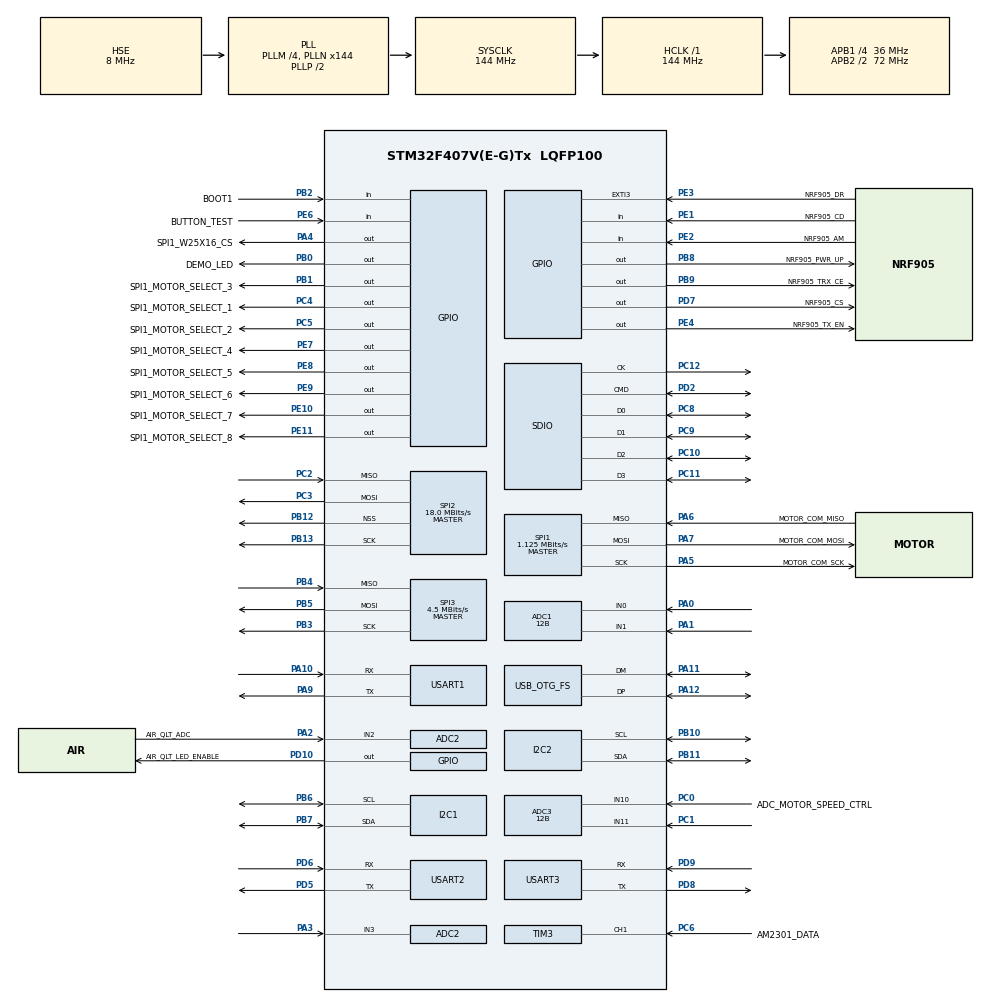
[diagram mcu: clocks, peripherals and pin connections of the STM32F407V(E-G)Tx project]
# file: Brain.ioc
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ADC1.Channel-0\#ChannelRegularConversion=ADC_CHANNEL_0
ADC1.ClockPrescaler=ADC_CLOCK_SYNC_PCLK_DIV4
ADC1.ContinuousConvMode=DISABLE
ADC1.DMAContinuousRequests=DISABLE
ADC1.DataAlign=ADC_DATAALIGN_RIGHT
ADC1.DiscontinuousConvMode=DISABLE
ADC1.EOCSelection=ADC_EOC_SINGLE_CONV
ADC1.EnableAnalogWatchDog=false
ADC1.ExternalTrigConvEdge=ADC_EXTERNALTRIGCONVEDGE_NONE
ADC1.InjNumberOfConversion=0
ADC1.NbrOfConversion=1
ADC1.NbrOfConversionFlag=1
ADC1.Rank-0\#ChannelRegularConversion=1
ADC1.Resolution=ADC_RESOLUTION_12B
ADC1.SamplingTime-0\#ChannelRegularConversion=ADC_SAMPLETIME_3CYCLES
ADC1.ScanConvMode=DISABLE
ADC1.master=1
ADC2.Channel-8\#ChannelRegularConversion=ADC_CHANNEL_2
ADC2.ClockPrescaler=ADC_CLOCK_SYNC_PCLK_DIV4
ADC2.ContinuousConvMode=DISABLE
ADC2.DMAContinuousRequests=DISABLE
ADC2.DataAlign=ADC_DATAALIGN_RIGHT
ADC2.DiscontinuousConvMode=DISABLE
ADC2.EOCSelection=ADC_EOC_SINGLE_CONV
ADC2.EnableAnalogWatchDog=false
ADC2.ExternalTrigConvEdge=ADC_EXTERNALTRIGCONVEDGE_NONE
ADC2.InjNumberOfConversion=0
ADC2.NbrOfConversion=1
ADC2.NbrOfConversionFlag=1
ADC2.Rank-8\#ChannelRegularConversion=1
ADC2.Resolution=ADC_RESOLUTION_12B
ADC2.SamplingTime-8\#ChannelRegularConversion=ADC_SAMPLETIME_28CYCLES
ADC2.ScanConvMode=DISABLE
ADC3.Channel-0\#ChannelRegularConversion=ADC_CHANNEL_10
ADC3.ClockPrescaler=ADC_CLOCK_SYNC_PCLK_DIV4
ADC3.ContinuousConvMode=DISABLE
ADC3.DMAContinuousRequests=ENABLE
ADC3.DataAlign=ADC_DATAALIGN_RIGHT
ADC3.DiscontinuousConvMode=DISABLE
ADC3.EOCSelection=ADC_EOC_SINGLE_CONV
ADC3.EnableAnalogWatchDog=false
ADC3.ExternalTrigConv=ADC_EXTERNALTRIGCONV_T2_TRGO
ADC3.ExternalTrigConvEdge=ADC_EXTERNALTRIGCONVEDGE_RISING
ADC3.InjNumberOfConversion=0
ADC3.NbrOfConversion=1
ADC3.NbrOfConversionFlag=1
ADC3.Rank-0\#ChannelRegularConversion=1
ADC3.Resolution=ADC_RESOLUTION_12B
ADC3.SamplingTime-0\#ChannelRegularConversion=ADC_SAMPLETIME_28CYCLES
ADC3.ScanConvMode=DISABLE
Dma.ADC3.3.Channel=DMA_CHANNEL_2
Dma.ADC3.3.Direction=DMA_PERIPH_TO_MEMORY
Dma.ADC3.3.FIFOMode=DMA_FIFOMODE_DISABLE
Dma.ADC3.3.Instance=DMA2_Stream0
Dma.ADC3.3.MemDataAlignment=DMA_MDATAALIGN_HALFWORD
Dma.ADC3.3.MemInc=DMA_MINC_ENABLE
Dma.ADC3.3.Mode=DMA_CIRCULAR
Dma.ADC3.3.PeriphDataAlignment=DMA_PDATAALIGN_HALFWORD
Dma.ADC3.3.PeriphInc=DMA_PINC_DISABLE
Dma.ADC3.3.Priority=DMA_PRIORITY_LOW
Dma.Request0=SPI3_RX
Dma.Request1=SPI3_TX
Dma.Request2=TIM3_CH1/TRIG
Dma.Request3=ADC3
Dma.SPI3_RX.0.Channel=DMA_CHANNEL_0
Dma.SPI3_RX.0.Direction=DMA_PERIPH_TO_MEMORY
Dma.SPI3_RX.0.FIFOMode=DMA_FIFOMODE_DISABLE
Dma.SPI3_RX.0.Instance=DMA1_Stream0
Dma.SPI3_RX.0.MemDataAlignment=DMA_MDATAALIGN_BYTE
Dma.SPI3_RX.0.MemInc=DMA_MINC_ENABLE
Dma.SPI3_RX.0.Mode=DMA_NORMAL
Dma.SPI3_RX.0.PeriphDataAlignment=DMA_PDATAALIGN_BYTE
Dma.SPI3_RX.0.PeriphInc=DMA_PINC_DISABLE
Dma.SPI3_RX.0.Priority=DMA_PRIORITY_LOW
Dma.SPI3_TX.1.Channel=DMA_CHANNEL_0
Dma.SPI3_TX.1.Direction=DMA_MEMORY_TO_PERIPH
Dma.SPI3_TX.1.FIFOMode=DMA_FIFOMODE_DISABLE
Dma.SPI3_TX.1.Instance=DMA1_Stream5
Dma.SPI3_TX.1.MemDataAlignment=DMA_MDATAALIGN_BYTE
Dma.SPI3_TX.1.MemInc=DMA_MINC_ENABLE
Dma.SPI3_TX.1.Mode=DMA_NORMAL
Dma.SPI3_TX.1.PeriphDataAlignment=DMA_PDATAALIGN_BYTE
Dma.SPI3_TX.1.PeriphInc=DMA_PINC_DISABLE
Dma.SPI3_TX.1.Priority=DMA_PRIORITY_LOW
Dma.TIM3_CH1/TRIG.2.Channel=DMA_CHANNEL_5
Dma.TIM3_CH1/TRIG.2.Direction=DMA_PERIPH_TO_MEMORY
Dma.TIM3_CH1/TRIG.2.FIFOMode=DMA_FIFOMODE_DISABLE
Dma.TIM3_CH1/TRIG.2.Instance=DMA1_Stream4
Dma.TIM3_CH1/TRIG.2.MemDataAlignment=DMA_MDATAALIGN_HALFWORD
Dma.TIM3_CH1/TRIG.2.MemInc=DMA_MINC_ENABLE
Dma.TIM3_CH1/TRIG.2.Mode=DMA_NORMAL
Dma.TIM3_CH1/TRIG.2.PeriphDataAlignment=DMA_PDATAALIGN_HALFWORD
Dma.TIM3_CH1/TRIG.2.PeriphInc=DMA_PINC_DISABLE
Dma.TIM3_CH1/TRIG.2.Priority=DMA_PRIORITY_LOW
FATFS._LFN_UNICODE=1
FATFS._USE_LFN=2
FREERTOS.BinarySemaphores01=MTR_tMotorSPI_CommCplt;RTN_tNeedToUpdateMotor;MTR_tMotorSpeedChanged;WL_tNRF905SPI_CommCplt;TH_tMeasureData_CommCplt;GLB_tGlobalParaAccess;AQ_tADC_Cnvt_Cplt
FREERTOS.INCLUDE_vTaskDelayUntil=1
FREERTOS.Queues01=MotorCommQueue,64,MOTOR_SPI_COMM_T,NULL
FREERTOS.Tasks01=defaultTask,0,256,StartDefaultTask,Default;myDEMO_LED_Task,-2,256,blinkDemoLED,As external;myMotorCtrlTask,2,256,MTR_ctrlMotor,As external;myRoutineUpdate,0,256,RTN_updateMotor,As external;myMotorCommTask,1,256,MTR_MotorComm,As external;myNRF905Comm,-3,256,WL_startRFComm,As external;myTmptHmdtMsmt,-3,256,TH_Measure,As external;myAirQuality,-3,256,AQ_Measure,As external
FREERTOS.configMINIMAL_STACK_SIZE=256
FREERTOS.configTIMER_TASK_PRIORITY=2
FREERTOS.configUSE_COUNTING_SEMAPHORES=1
FREERTOS.configUSE_TIMERS=0
Mcu.Family=STM32F4
Mcu.Name=STM32F407V(E-G)Tx
Mcu.Package=LQFP100
Mcu.UserConstants=MOTOR_SPEED_ADC_DMA_DEPTH,32
NVIC.ADC_IRQn=true\:5\:0\:false\:false\:true
NVIC.DMA1_Stream0_IRQn=true\:10\:0\:true\:false\:true
NVIC.DMA1_Stream4_IRQn=true\:5\:0\:false\:false\:true
NVIC.DMA1_Stream5_IRQn=true\:10\:0\:true\:false\:true
NVIC.DMA2_Stream0_IRQn=true\:8\:0\:true\:false\:true
NVIC.EXTI3_IRQn=true\:12\:0\:true\:false\:true
NVIC.OTG_FS_IRQn=true\:5\:0\:false\:false\:true
NVIC.PriorityGroup=NVIC_PRIORITYGROUP_4
NVIC.SPI1_IRQn=true\:7\:0\:true\:false\:true
NVIC.TIM1_UP_TIM10_IRQn=true\:0\:0\:false\:false\:true
NVIC.TIM6_DAC_IRQn=true\:10\:0\:true\:false\:true
NVIC.TIM8_BRK_TIM12_IRQn=true\:9\:0\:true\:false\:true
NVIC.TIM8_UP_TIM13_IRQn=true\:11\:0\:true\:false\:true
NVIC.TimeBase=TIM1_UP_TIM10_IRQn
NVIC.TimeBaseIP=TIM1
PA0-WKUP.Signal=ADCx_IN0
PA1.Signal=ADCx_IN1
PA10.Mode=Asynchronous
PA10.Signal=USART1_RX
PA11.Mode=Device_Only
PA11.Signal=USB_OTG_FS_DM
PA12.Mode=Device_Only
PA12.Signal=USB_OTG_FS_DP
PA13.Mode=Serial-Wire
PA13.Signal=SYS_JTMS-SWDIO
PA14.Mode=Serial-Wire
PA14.Signal=SYS_JTCK-SWCLK
PA2.GPIO_Label=AIR_QLT_ADC
PA2.Signal=ADCx_IN2
PA3.Signal=ADCx_IN3
PA4.GPIO_Label=SPI1_W25X16_CS
PA4.Signal=GPIO_Output
PA5.GPIO_Label=MOTOR_COM_SCK
PA5.Mode=Full_Duplex_Master
PA5.Signal=SPI1_SCK
PA6.GPIO_Label=MOTOR_COM_MISO
PA6.Mode=Full_Duplex_Master
PA6.Signal=SPI1_MISO
PA7.GPIO_Label=MOTOR_COM_MOSI
PA7.Mode=Full_Duplex_Master
PA7.Signal=SPI1_MOSI
PA9.Mode=Asynchronous
PA9.Signal=USART1_TX
PB0.GPIO_Label=DEMO_LED
PB0.Signal=GPIO_Output
PB1.GPIO_Label=SPI1_MOTOR_SELECT_3
PB1.Signal=GPIO_Output
PB10.Mode=I2C
PB10.Signal=I2C2_SCL
PB11.Mode=I2C
PB11.Signal=I2C2_SDA
PB12.Mode=NSS_Signal_Hard_Output
PB12.Signal=SPI2_NSS
PB13.Mode=Full_Duplex_Master
PB13.Signal=SPI2_SCK
PB2.GPIO_Label=BOOT1
PB2.Signal=GPIO_Input
PB3.Mode=Full_Duplex_Master
PB3.Signal=SPI3_SCK
PB4.Mode=Full_Duplex_Master
PB4.Signal=SPI3_MISO
PB5.Mode=Full_Duplex_Master
PB5.Signal=SPI3_MOSI
PB6.Mode=I2C
PB6.Signal=I2C1_SCL
PB7.Mode=I2C
PB7.Signal=I2C1_SDA
PB8.GPIO_Label=NRF905_PWR_UP
PB8.Signal=GPIO_Output
PB9.GPIO_Label=NRF905_TRX_CE
PB9.Signal=GPIO_Output
PC0.GPIO_Label=ADC_MOTOR_SPEED_CTRL
PC0.Signal=ADCx_IN10
PC1.Signal=ADCx_IN11
PC10.Mode=mmc_4_bits_Wide_bus
PC10.Signal=SDIO_D2
PC11.Mode=mmc_4_bits_Wide_bus
PC11.Signal=SDIO_D3
PC12.Mode=mmc_4_bits_Wide_bus
PC12.Signal=SDIO_CK
PC14-OSC32_IN.Mode=LSE-External-Oscillator
PC14-OSC32_IN.Signal=RCC_OSC32_IN
PC15-OSC32_OUT.Mode=LSE-External-Oscillator
PC15-OSC32_OUT.Signal=RCC_OSC32_OUT
PC2.Mode=Full_Duplex_Master
PC2.Signal=SPI2_MISO
PC3.Mode=Full_Duplex_Master
PC3.Signal=SPI2_MOSI
PC4.GPIO_Label=SPI1_MOTOR_SELECT_1
PC4.Signal=GPIO_Output
PC5.GPIO_Label=SPI1_MOTOR_SELECT_2
PC5.Signal=GPIO_Output
PC6.GPIO_Label=AM2301_DATA
PC6.GPIO_ModeDefaultPP=GPIO_MODE_AF_OD
PC6.GPIO_PuPd=GPIO_PULLUP
PC6.GPIO_Speed=GPIO_SPEED_FREQ_HIGH
PC6.Signal=S_TIM3_CH1
PC8.Mode=mmc_4_bits_Wide_bus
PC8.Signal=SDIO_D0
PC9.Mode=mmc_4_bits_Wide_bus
PC9.Signal=SDIO_D1
PD10.GPIO_Label=AIR_QLT_LED_ENABLE
PD10.GPIO_ModeDefaultOutputPP=GPIO_MODE_OUTPUT_OD
PD10.PinState=GPIO_PIN_SET
PD10.Signal=GPIO_Output
PD2.Mode=mmc_4_bits_Wide_bus
PD2.Signal=SDIO_CMD
PD5.Mode=Asynchronous
PD5.Signal=USART2_TX
PD6.Mode=Asynchronous
PD6.Signal=USART2_RX
PD7.GPIO_Label=NRF905_CS
PD7.Signal=GPIO_Output
PD8.Mode=Asynchronous
PD8.Signal=USART3_TX
PD9.Mode=Asynchronous
PD9.Signal=USART3_RX
PE1.GPIO_Label=NRF905_CD
PE1.Signal=GPIO_Input
PE10.GPIO_Label=SPI1_MOTOR_SELECT_7
PE10.Signal=GPIO_Output
PE11.GPIO_Label=SPI1_MOTOR_SELECT_8
PE11.Signal=GPIO_Output
PE2.GPIO_Label=NRF905_AM
PE2.Signal=GPIO_Input
PE3.GPIO_Label=NRF905_DR
PE3.GPIO_PuPd=GPIO_PULLDOWN
PE3.Signal=GPXTI3
PE4.GPIO_Label=NRF905_TX_EN
PE4.Signal=GPIO_Output
PE6.GPIO_Label=BUTTON_TEST
PE6.Signal=GPIO_Input
PE7.GPIO_Label=SPI1_MOTOR_SELECT_4
PE7.Signal=GPIO_Output
PE8.GPIO_Label=SPI1_MOTOR_SELECT_5
PE8.Signal=GPIO_Output
PE9.GPIO_Label=SPI1_MOTOR_SELECT_6
PE9.Signal=GPIO_Output
PH0-OSC_IN.Mode=HSE-External-Oscillator
PH0-OSC_IN.Signal=RCC_OSC_IN
PH1-OSC_OUT.Mode=HSE-External-Oscillator
PH1-OSC_OUT.Signal=RCC_OSC_OUT
ProjectManager.HeapSize=0x400
ProjectManager.StackSize=0x800
ProjectManager.TargetToolchain=MDK-ARM V5
RCC.48MHZClocksFreq_Value=48000000
RCC.AHBFreq_Value=144000000
RCC.APB1CLKDivider=RCC_HCLK_DIV4
RCC.APB1Freq_Value=36000000
RCC.APB1TimFreq_Value=72000000
RCC.APB2CLKDivider=RCC_HCLK_DIV2
RCC.APB2Freq_Value=72000000
RCC.APB2TimFreq_Value=144000000
RCC.CortexFreq_Value=144000000
RCC.HCLKFreq_Value=144000000
RCC.HSE_VALUE=8000000
RCC.HSI_VALUE=16000000
RCC.PLLM=4
RCC.PLLN=144
RCC.PLLQ=6
RCC.SYSCLKFreq_VALUE=144000000
RCC.SYSCLKSource=RCC_SYSCLKSOURCE_PLLCLK
RCC.VCOOutputFreq_Value=288000000
SH.ADCx_IN0.0=ADC1_IN0,IN0
SH.ADCx_IN1.0=ADC1_IN1,IN1
SH.ADCx_IN10.0=ADC3_IN10,IN10
SH.ADCx_IN11.0=ADC3_IN11,IN11
SH.ADCx_IN2.0=ADC2_IN2,IN2
SH.ADCx_IN3.0=ADC2_IN3,IN3
SH.S_TIM3_CH1.0=TIM3_CH1,Input_Capture1_from_TI1
SPI1.BaudRatePrescaler=SPI_BAUDRATEPRESCALER_64
SPI1.CLKPhase=SPI_PHASE_1EDGE
SPI1.CLKPolarity=SPI_POLARITY_LOW
SPI1.CRCCalculation=SPI_CRCCALCULATION_DISABLE
SPI1.CalculateBaudRate=1.125 MBits/s
SPI1.DataSize=SPI_DATASIZE_16BIT
SPI1.Mode=SPI_MODE_MASTER
SPI2.BaudRatePrescaler=SPI_BAUDRATEPRESCALER_2
SPI2.CalculateBaudRate=18.0 MBits/s
SPI2.Mode=SPI_MODE_MASTER
SPI2.VirtualNSS=VM_NSSHARD
SPI3.BaudRatePrescaler=SPI_BAUDRATEPRESCALER_8
SPI3.CalculateBaudRate=4.5 MBits/s
SPI3.Mode=SPI_MODE_MASTER
TIM12.Period=280
TIM12.Prescaler=71
TIM13.ClockDivision=TIM_CLOCKDIVISION_DIV1
TIM13.Period=2000
TIM13.Prescaler=719
TIM14.ClockDivision=TIM_CLOCKDIVISION_DIV4
TIM14.Period=2000
TIM14.Prescaler=2000
TIM2.ClockDivision=TIM_CLOCKDIVISION_DIV1
TIM2.Period=1000
TIM2.Prescaler=719
TIM2.TIM_MasterOutputTrigger=TIM_TRGO_UPDATE
TIM2.TIM_MasterSlaveMode=TIM_MASTERSLAVEMODE_ENABLE
TIM3.ICFilter_CH1=5
TIM3.ICPolarity_CH1=TIM_INPUTCHANNELPOLARITY_FALLING
TIM3.Period=65535
TIM3.Prescaler=71
TIM6.Period=10000
TIM6.Prescaler=719
TIM6.TIM_MasterOutputTrigger=TIM_TRGO_RESET
USB_OTG_FS.VirtualMode=Device_Only
VP_CRC_VS_CRC.Mode=CRC_Activate
VP_FATFS_VS_Generic.Mode=User_defined
VP_FREERTOS_VS_ENABLE.Mode=Enabled
VP_IWDG_VS_IWDG.Mode=IWDG_Activate
VP_RNG_VS_RNG.Mode=RNG_Activate
VP_SYS_VS_tim1.Mode=TIM1
VP_TIM12_VS_ClockSourceINT.Mode=Internal
VP_TIM13_VS_ClockSourceINT.Mode=Enable_Timer
VP_TIM14_VS_ClockSourceINT.Mode=Enable_Timer
VP_TIM2_VS_ClockSourceINT.Mode=Internal
VP_TIM3_VS_ClockSourceINT.Mode=Internal
VP_TIM6_VS_ClockSourceINT.Mode=Enable_Timer
board=Brain

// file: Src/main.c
/**
  ******************************************************************************
  * File Name          : main.c
  * Description        : Main program body
  ******************************************************************************
  *
  * COPYRIGHT(c) 2016 STMicroelectronics
  *
  * Redistribution and use in source and binary forms, with or without modification,
  * are permitted provided that the following conditions are met:
  *   1. Redistributions of source code must retain the above copyright notice,
  *      this list of conditions and the following disclaimer.
  *   2. Redistributions in binary form must reproduce the above copyright notice,
  *      this list of conditions and the following disclaimer in the documentation
  *      and/or other materials provided with the distribution.
  *   3. Neither the name of STMicroelectronics nor the names of its contributors
  *      may be used to endorse or promote products derived from this software
  *      without specific prior written permission.
  *
  * THIS SOFTWARE IS PROVIDED BY THE COPYRIGHT HOLDERS AND CONTRIBUTORS "AS IS"
  * AND ANY EXPRESS OR IMPLIED WARRANTIES, INCLUDING, BUT NOT LIMITED TO, THE
  * IMPLIED WARRANTIES OF MERCHANTABILITY AND FITNESS FOR A PARTICULAR PURPOSE ARE
  * DISCLAIMED. IN NO EVENT SHALL THE COPYRIGHT HOLDER OR CONTRIBUTORS BE LIABLE
  * FOR ANY DIRECT, INDIRECT, INCIDENTAL, SPECIAL, EXEMPLARY, OR CONSEQUENTIAL
  * DAMAGES (INCLUDING, BUT NOT LIMITED TO, PROCUREMENT OF SUBSTITUTE GOODS OR
  * SERVICES; LOSS OF USE, DATA, OR PROFITS; OR BUSINESS INTERRUPTION) HOWEVER
  * CAUSED AND ON ANY THEORY OF LIABILITY, WHETHER IN CONTRACT, STRICT LIABILITY,
  * OR TORT (INCLUDING NEGLIGENCE OR OTHERWISE) ARISING IN ANY WAY OUT OF THE USE
  * OF THIS SOFTWARE, EVEN IF ADVISED OF THE POSSIBILITY OF SUCH DAMAGE.
  *
  ******************************************************************************
  */
#include "stm32f4xx_hal.h"
#include "cmsis_os.h"
#include "adc.h"
#include "crc.h"
#include "dma.h"
#include "fatfs.h"
#include "i2c.h"
#include "iwdg.h"
#include "rng.h"
#include "sdio.h"
#include "spi.h"
#include "tim.h"
#include "usart.h"
#include "usb_otg.h"
#include "gpio.h"

/* USER CODE BEGIN Includes */
#define __USED_BY_MAIN__
#include "motor.h"
#include "air_quality.h"
#include "main.h"
/* USER CODE END Includes */

/* USER CODE BEGIN PV */
/* Private variables ---------------------------------------------------------*/
extern osSemaphoreId MTR_tMotorSPI_CommCpltHandle;
extern osSemaphoreId WL_tNRF905SPI_CommCpltHandle;
extern osSemaphoreId MTR_tMotorSpeedChangedHandle;
extern osSemaphoreId AQ_tADC_Cnvt_CpltHandle;

/* USER CODE END PV */

void SystemClock_Config(void);
void MX_FREERTOS_Init(void);

/* USER CODE BEGIN PFP */
/* Private function prototypes -----------------------------------------------*/

/* USER CODE END PFP */

/* USER CODE BEGIN 0 */
void blinkDemoLED(void const * argument)
{
  for(;;)
  {
//    if (ERROR == tErrorStatus)
//    {
//      HAL_GPIO_WritePin(GPIO_DEMO_LED_PORT, DEMO_LED_Pin, GPIO_PIN_RESET);
//    }
//    else
//    {
//      HAL_GPIO_TogglePin(GPIO_DEMO_LED_PORT, DEMO_LED_Pin);
//    }
    osDelay(1000);
  }
}

void initBrainVar(void)
{

}

void M_handleErr(char* pLog)
{
	tErrorStatus = ERROR;
	HAL_GPIO_WritePin(GPIO_DEMO_LED_PORT, DEMO_LED_Pin, GPIO_PIN_RESET);
}

uint16_t BLB_unGetAverage_16Bits(uint16_t* pBuff, uint32_t unLen)
{
	uint32_t unIndex;
	uint32_t unSum = 0;
	for (unIndex = 0; unIndex < unLen; unIndex++){
		unSum += pBuff[unIndex];
	}
	return (unSum / unLen);
}

/* USER CODE END 0 */

int main(void)
{

  /* MCU Configuration----------------------------------------------------------*/

  /* Reset of all peripherals, Initializes the Flash interface and the Systick. */
  HAL_Init();

  /* Configure the system clock */
  SystemClock_Config();

  /* Initialize all configured peripherals */
  MX_GPIO_Init();
  MX_DMA_Init();
  MX_ADC1_Init();
  MX_ADC2_Init();
  MX_ADC3_Init();
  MX_CRC_Init();
  MX_I2C1_Init();
  MX_I2C2_Init();
  MX_IWDG_Init();
  MX_SDIO_Init();
  MX_SPI1_Init();
  MX_SPI2_Init();
  MX_SPI3_Init();
  MX_TIM13_Init();
  MX_TIM14_Init();
  MX_USART1_UART_Init();
  MX_USART2_UART_Init();
  MX_USART3_UART_Init();
  MX_TIM2_Init();
  MX_TIM6_Init();
  MX_USB_OTG_FS_PCD_Init();
  MX_RNG_Init();
  MX_TIM3_Init();
  MX_TIM12_Init();

  /* USER CODE BEGIN 2 */
  tErrorStatus = SUCCESS;
  HAL_GPIO_WritePin(GPIO_DEMO_LED_PORT, DEMO_LED_Pin, GPIO_PIN_SET);

//  MTR_tMotorSpeedChangedSemaphore = xSemaphoreCreateCounting(MTR_SPD_CHNG_SEM_MAX, 0);
//  if (NULL == MTR_tMotorSpeedChangedSemaphore)
//  {
//    M_handleErr();
//  }

  /* USER CODE END 2 */

  /* Call init function for freertos objects (in freertos.c) */
  MX_FREERTOS_Init();

  /* Start scheduler */
  osKernelStart();

  /* We should never get here as control is now taken by the scheduler */

  /* Infinite loop */
  /* USER CODE BEGIN WHILE */
	initBrainVar();

  while (1)
  {
  /* USER CODE END WHILE */

  }

}

/** System Clock Configuration
*/
void SystemClock_Config(void)
{

  RCC_OscInitTypeDef RCC_OscInitStruct;
  RCC_ClkInitTypeDef RCC_ClkInitStruct;

  __HAL_RCC_PWR_CLK_ENABLE();

  __HAL_PWR_VOLTAGESCALING_CONFIG(PWR_REGULATOR_VOLTAGE_SCALE1);

  RCC_OscInitStruct.OscillatorType = RCC_OSCILLATORTYPE_LSI|RCC_OSCILLATORTYPE_HSE;
  RCC_OscInitStruct.HSEState = RCC_HSE_ON;
  RCC_OscInitStruct.LSIState = RCC_LSI_ON;
  RCC_OscInitStruct.PLL.PLLState = RCC_PLL_ON;
  RCC_OscInitStruct.PLL.PLLSource = RCC_PLLSOURCE_HSE;
  RCC_OscInitStruct.PLL.PLLM = 4;
  RCC_OscInitStruct.PLL.PLLN = 144;
  RCC_OscInitStruct.PLL.PLLP = RCC_PLLP_DIV2;
  RCC_OscInitStruct.PLL.PLLQ = 6;
  HAL_RCC_OscConfig(&RCC_OscInitStruct);

  RCC_ClkInitStruct.ClockType = RCC_CLOCKTYPE_HCLK|RCC_CLOCKTYPE_SYSCLK
                              |RCC_CLOCKTYPE_PCLK1|RCC_CLOCKTYPE_PCLK2;
  RCC_ClkInitStruct.SYSCLKSource = RCC_SYSCLKSOURCE_PLLCLK;
  RCC_ClkInitStruct.AHBCLKDivider = RCC_SYSCLK_DIV1;
  RCC_ClkInitStruct.APB1CLKDivider = RCC_HCLK_DIV4;
  RCC_ClkInitStruct.APB2CLKDivider = RCC_HCLK_DIV2;
  HAL_RCC_ClockConfig(&RCC_ClkInitStruct, FLASH_LATENCY_4);

  HAL_SYSTICK_Config(HAL_RCC_GetHCLKFreq()/1000);

  HAL_SYSTICK_CLKSourceConfig(SYSTICK_CLKSOURCE_HCLK);

  /* SysTick_IRQn interrupt configuration */
  HAL_NVIC_SetPriority(SysTick_IRQn, 15, 0);
}

/* USER CODE BEGIN 4 */
void HAL_SPI_ErrorCallback(SPI_HandleTypeDef *hspi)
{
	static portBASE_TYPE tHigherPriorityTaskWoken;
	if (hspi->Instance == MOTOR_COMM_SPI_HANDLER.Instance){
		if ((HAL_SPI_GetError(hspi) & HAL_SPI_ERROR_CRC) != 0)
		{
			tHigherPriorityTaskWoken = pdFALSE;
			xSemaphoreGiveFromISR(MTR_tMotorSPI_CommCpltHandle, &tHigherPriorityTaskWoken);
			if(tHigherPriorityTaskWoken == pdTRUE)
			{
				portEND_SWITCHING_ISR(tHigherPriorityTaskWoken);
			}
		}
	}else if (hspi->Instance == NRF905_COMM_SPI_HANDLER.Instance){
		tHigherPriorityTaskWoken = pdFALSE;
		xSemaphoreGiveFromISR(WL_tNRF905SPI_CommCpltHandle, &tHigherPriorityTaskWoken);
		if(tHigherPriorityTaskWoken == pdTRUE)
		{
			portEND_SWITCHING_ISR(tHigherPriorityTaskWoken);
		}
	}
}

void HAL_SPI_TxRxCpltCallback(SPI_HandleTypeDef *hspi)
{
	static portBASE_TYPE tHigherPriorityTaskWoken;
	if (hspi->Instance == MOTOR_COMM_SPI_HANDLER.Instance){
		tHigherPriorityTaskWoken = pdFALSE;
		xSemaphoreGiveFromISR(MTR_tMotorSPI_CommCpltHandle, &tHigherPriorityTaskWoken);
		if(tHigherPriorityTaskWoken == pdTRUE)
		{
			portEND_SWITCHING_ISR(tHigherPriorityTaskWoken);
		}
	}else if (hspi->Instance == NRF905_COMM_SPI_HANDLER.Instance){
		tHigherPriorityTaskWoken = pdFALSE;
		xSemaphoreGiveFromISR(WL_tNRF905SPI_CommCpltHandle, &tHigherPriorityTaskWoken);
		if(tHigherPriorityTaskWoken == pdTRUE)
		{
			portEND_SWITCHING_ISR(tHigherPriorityTaskWoken);
		}
	}
}

void HAL_SPI_RxCpltCallback(SPI_HandleTypeDef *hspi)
{
	static portBASE_TYPE tHigherPriorityTaskWoken;
	if (hspi->Instance == MOTOR_COMM_SPI_HANDLER.Instance){
		tHigherPriorityTaskWoken = pdFALSE;
		xSemaphoreGiveFromISR(MTR_tMotorSPI_CommCpltHandle, &tHigherPriorityTaskWoken);
		if(tHigherPriorityTaskWoken == pdTRUE)
		{
			portEND_SWITCHING_ISR(tHigherPriorityTaskWoken);
		}
	}else if (hspi->Instance == NRF905_COMM_SPI_HANDLER.Instance){
		tHigherPriorityTaskWoken = pdFALSE;
		xSemaphoreGiveFromISR(WL_tNRF905SPI_CommCpltHandle, &tHigherPriorityTaskWoken);
		if(tHigherPriorityTaskWoken == pdTRUE)
		{
			portEND_SWITCHING_ISR(tHigherPriorityTaskWoken);
		}
	}
}

void HAL_SPI_TxCpltCallback(SPI_HandleTypeDef *hspi)
{
	static portBASE_TYPE tHigherPriorityTaskWoken;
	if (hspi->Instance == NRF905_COMM_SPI_HANDLER.Instance)
	{
		tHigherPriorityTaskWoken = pdFALSE;
		xSemaphoreGiveFromISR(WL_tNRF905SPI_CommCpltHandle, &tHigherPriorityTaskWoken);
		if(tHigherPriorityTaskWoken == pdTRUE)
		{
			portEND_SWITCHING_ISR(tHigherPriorityTaskWoken);
		}
	}
}

void HAL_ADC_ConvCpltCallback(ADC_HandleTypeDef* hadc)
{
	static portBASE_TYPE tHigherPriorityTaskWoken;
	if (hadc->Instance == MOTOR_SPEED_ADC_HANDLER.Instance){
		tHigherPriorityTaskWoken = pdFALSE;
		xSemaphoreGiveFromISR(MTR_tMotorSpeedChangedHandle, &tHigherPriorityTaskWoken);
		if(tHigherPriorityTaskWoken == pdTRUE){
			portEND_SWITCHING_ISR(tHigherPriorityTaskWoken);
		}
	}else if (hadc->Instance == AIR_QUALITY_ADC_HANDLER.Instance) {
		HAL_ADC_Stop_IT(&AIR_QUALITY_ADC_HANDLER);
		HAL_GPIO_WritePin(AIR_QLT_LED_ENABLE_GPIO_Port, AIR_QLT_LED_ENABLE_Pin, GPIO_PIN_SET);
		tHigherPriorityTaskWoken = pdFALSE;
		xSemaphoreGiveFromISR(AQ_tADC_Cnvt_CpltHandle, &tHigherPriorityTaskWoken);
		if(tHigherPriorityTaskWoken == pdTRUE){
			portEND_SWITCHING_ISR(tHigherPriorityTaskWoken);
		}
	}
}

/* USER CODE END 4 */

/************************ (C) COPYRIGHT STMicroelectronics *****END OF FILE****/

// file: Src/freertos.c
/**
  ******************************************************************************
  * File Name          : freertos.c
  * Description        : Code for freertos applications
  ******************************************************************************
  *
  * COPYRIGHT(c) 2016 STMicroelectronics
  *
  * Redistribution and use in source and binary forms, with or without modification,
  * are permitted provided that the following conditions are met:
  *   1. Redistributions of source code must retain the above copyright notice,
  *      this list of conditions and the following disclaimer.
  *   2. Redistributions in binary form must reproduce the above copyright notice,
  *      this list of conditions and the following disclaimer in the documentation
  *      and/or other materials provided with the distribution.
  *   3. Neither the name of STMicroelectronics nor the names of its contributors
  *      may be used to endorse or promote products derived from this software
  *      without specific prior written permission.
  *
  * THIS SOFTWARE IS PROVIDED BY THE COPYRIGHT HOLDERS AND CONTRIBUTORS "AS IS"
  * AND ANY EXPRESS OR IMPLIED WARRANTIES, INCLUDING, BUT NOT LIMITED TO, THE
  * IMPLIED WARRANTIES OF MERCHANTABILITY AND FITNESS FOR A PARTICULAR PURPOSE ARE
  * DISCLAIMED. IN NO EVENT SHALL THE COPYRIGHT HOLDER OR CONTRIBUTORS BE LIABLE
  * FOR ANY DIRECT, INDIRECT, INCIDENTAL, SPECIAL, EXEMPLARY, OR CONSEQUENTIAL
  * DAMAGES (INCLUDING, BUT NOT LIMITED TO, PROCUREMENT OF SUBSTITUTE GOODS OR
  * SERVICES; LOSS OF USE, DATA, OR PROFITS; OR BUSINESS INTERRUPTION) HOWEVER
  * CAUSED AND ON ANY THEORY OF LIABILITY, WHETHER IN CONTRACT, STRICT LIABILITY,
  * OR TORT (INCLUDING NEGLIGENCE OR OTHERWISE) ARISING IN ANY WAY OUT OF THE USE
  * OF THIS SOFTWARE, EVEN IF ADVISED OF THE POSSIBILITY OF SUCH DAMAGE.
  *
  ******************************************************************************
  */

#include "FreeRTOS.h"
#include "task.h"
#include "cmsis_os.h"

/* USER CODE BEGIN Includes */
#include "global.h"
/* USER CODE END Includes */

osThreadId defaultTaskHandle;
osThreadId myDEMO_LED_TaskHandle;
osThreadId myMotorCtrlTaskHandle;
osThreadId myRoutineUpdateHandle;
osThreadId myMotorCommTaskHandle;
osThreadId myNRF905CommHandle;
osThreadId myTmptHmdtMsmtHandle;
osThreadId myAirQualityHandle;
osMessageQId MotorCommQueueHandle;
osSemaphoreId MTR_tMotorSPI_CommCpltHandle;
osSemaphoreId RTN_tNeedToUpdateMotorHandle;
osSemaphoreId MTR_tMotorSpeedChangedHandle;
osSemaphoreId WL_tNRF905SPI_CommCpltHandle;
osSemaphoreId TH_tMeasureData_CommCpltHandle;
osSemaphoreId GLB_tGlobalParaAccessHandle;
osSemaphoreId AQ_tADC_Cnvt_CpltHandle;

void StartDefaultTask(void const * argument);
extern void blinkDemoLED(void const * argument);
extern void MTR_ctrlMotor(void const * argument);
extern void RTN_updateMotor(void const * argument);
extern void MTR_MotorComm(void const * argument);
extern void WL_startRFComm(void const * argument);
extern void TH_Measure(void const * argument);
extern void AQ_Measure(void const * argument);

extern void MX_FATFS_Init(void);
void MX_FREERTOS_Init(void); /* (MISRA C 2004 rule 8.1) */

/* Hook prototypes */

/* Init FreeRTOS */

void MX_FREERTOS_Init(void) {

  /* Create the semaphores(s) */
  /* definition and creation of MTR_tMotorSPI_CommCplt */
  osSemaphoreDef(MTR_tMotorSPI_CommCplt);
  MTR_tMotorSPI_CommCpltHandle = osSemaphoreCreate(osSemaphore(MTR_tMotorSPI_CommCplt), 1);

  /* definition and creation of RTN_tNeedToUpdateMotor */
  osSemaphoreDef(RTN_tNeedToUpdateMotor);
  RTN_tNeedToUpdateMotorHandle = osSemaphoreCreate(osSemaphore(RTN_tNeedToUpdateMotor), 1);

  /* definition and creation of MTR_tMotorSpeedChanged */
  osSemaphoreDef(MTR_tMotorSpeedChanged);
  MTR_tMotorSpeedChangedHandle = osSemaphoreCreate(osSemaphore(MTR_tMotorSpeedChanged), 1);

  /* definition and creation of WL_tNRF905SPI_CommCplt */
  osSemaphoreDef(WL_tNRF905SPI_CommCplt);
  WL_tNRF905SPI_CommCpltHandle = osSemaphoreCreate(osSemaphore(WL_tNRF905SPI_CommCplt), 1);

  /* definition and creation of TH_tMeasureData_CommCplt */
  osSemaphoreDef(TH_tMeasureData_CommCplt);
  TH_tMeasureData_CommCpltHandle = osSemaphoreCreate(osSemaphore(TH_tMeasureData_CommCplt), 1);

  /* definition and creation of GLB_tGlobalParaAccess */
  osSemaphoreDef(GLB_tGlobalParaAccess);
  GLB_tGlobalParaAccessHandle = osSemaphoreCreate(osSemaphore(GLB_tGlobalParaAccess), 1);

  /* definition and creation of AQ_tADC_Cnvt_Cplt */
  osSemaphoreDef(AQ_tADC_Cnvt_Cplt);
  AQ_tADC_Cnvt_CpltHandle = osSemaphoreCreate(osSemaphore(AQ_tADC_Cnvt_Cplt), 1);

  /* USER CODE BEGIN RTOS_SEMAPHORES */
  /* add semaphores, ... */
	osSemaphoreWait(MTR_tMotorSPI_CommCpltHandle, 5);
	osSemaphoreWait(RTN_tNeedToUpdateMotorHandle, 5);
	osSemaphoreWait(MTR_tMotorSpeedChangedHandle, 5);
	osSemaphoreWait(WL_tNRF905SPI_CommCpltHandle, 5);
	osSemaphoreWait(TH_tMeasureData_CommCpltHandle, 5);
	osSemaphoreWait(AQ_tADC_Cnvt_CpltHandle, 5);

	xSemaphoreTake(MTR_tMotorSPI_CommCpltHandle, 0);
	xSemaphoreTake(RTN_tNeedToUpdateMotorHandle, 0);
	xSemaphoreTake(MTR_tMotorSpeedChangedHandle, 0);
	xSemaphoreTake(WL_tNRF905SPI_CommCpltHandle, 0);
	xSemaphoreTake(TH_tMeasureData_CommCpltHandle, 0);
	xSemaphoreTake(AQ_tADC_Cnvt_CpltHandle, 0);

	xSemaphoreGive(GLB_tGlobalParaAccessHandle);

  /* USER CODE END RTOS_SEMAPHORES */

  /* Create the thread(s) */
  /* definition and creation of defaultTask */
  osThreadDef(defaultTask, StartDefaultTask, osPriorityNormal, 0, 256);
  defaultTaskHandle = osThreadCreate(osThread(defaultTask), NULL);

  /* definition and creation of myDEMO_LED_Task */
  osThreadDef(myDEMO_LED_Task, blinkDemoLED, osPriorityLow, 0, 256);
  myDEMO_LED_TaskHandle = osThreadCreate(osThread(myDEMO_LED_Task), NULL);

  /* definition and creation of myMotorCtrlTask */
  osThreadDef(myMotorCtrlTask, MTR_ctrlMotor, osPriorityHigh, 0, 256);
  myMotorCtrlTaskHandle = osThreadCreate(osThread(myMotorCtrlTask), NULL);

  /* definition and creation of myRoutineUpdate */
  osThreadDef(myRoutineUpdate, RTN_updateMotor, osPriorityNormal, 0, 256);
  myRoutineUpdateHandle = osThreadCreate(osThread(myRoutineUpdate), NULL);

  /* definition and creation of myMotorCommTask */
  osThreadDef(myMotorCommTask, MTR_MotorComm, osPriorityAboveNormal, 0, 256);
  myMotorCommTaskHandle = osThreadCreate(osThread(myMotorCommTask), NULL);

  /* definition and creation of myNRF905Comm */
  osThreadDef(myNRF905Comm, WL_startRFComm, osPriorityIdle, 0, 256);
  myNRF905CommHandle = osThreadCreate(osThread(myNRF905Comm), NULL);

  /* definition and creation of myTmptHmdtMsmt */
  osThreadDef(myTmptHmdtMsmt, TH_Measure, osPriorityIdle, 0, 256);
  myTmptHmdtMsmtHandle = osThreadCreate(osThread(myTmptHmdtMsmt), NULL);

  /* definition and creation of myAirQuality */
  osThreadDef(myAirQuality, AQ_Measure, osPriorityIdle, 0, 256);
  myAirQualityHandle = osThreadCreate(osThread(myAirQuality), NULL);

  /* Create the queue(s) */
  /* definition and creation of MotorCommQueue */
  osMessageQDef(MotorCommQueue, 64, MOTOR_SPI_COMM_T);
  MotorCommQueueHandle = osMessageCreate(osMessageQ(MotorCommQueue), NULL);

}

/* StartDefaultTask function */
void StartDefaultTask(void const * argument)
{
  /* init code for FATFS */
  MX_FATFS_Init();

  for(;;)
  {
    osDelay(1);
  }
}

/************************ (C) COPYRIGHT STMicroelectronics *****END OF FILE****/
